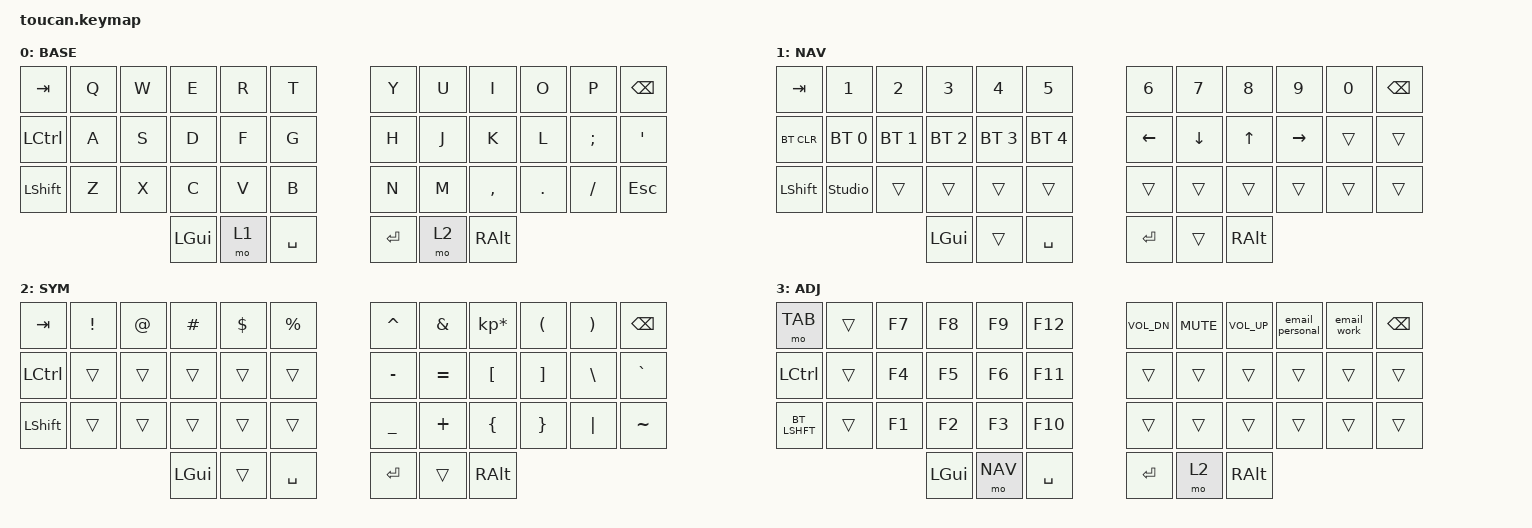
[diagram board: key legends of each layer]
#include <behaviors.dtsi>
#include <dt-bindings/zmk/keys.h>
#include <dt-bindings/zmk/bt.h>
#include <dt-bindings/zmk/outputs.h>

#define BASE 0
#define NAV  1
#define SYM  2
#define ADJ  3

/ {
    conditional_layers {
        compatible = "zmk,conditional-layers";
        tri_layer {
            if-layers = <1 2>;
            then-layer = <3>;
        };
    };

    macros {
        email_personal: email_personal {
            compatible = "zmk,behavior-macro";
            #binding-cells = <0>;
            wait-ms = <0>;
            tap-ms = <5>;
            bindings = <&kp B &kp E &kp N &kp R &kp B &kp A &kp U &kp E &kp R &kp AT &kp P &kp M &kp DOT &kp M &kp E>;
        };

        email_work: email_work {
            compatible = "zmk,behavior-macro";
            #binding-cells = <0>;
            wait-ms = <0>;
            tap-ms = <5>;
            bindings = <&kp B &kp E &kp N &kp J &kp A &kp M &kp I &kp N &kp DOT &kp B &kp A &kp U &kp E &kp R &kp AT &kp S &kp T &kp U &kp B &kp H &kp U &kp B &kp DOT &kp C &kp O &kp M>;
        };
    };

    keymap {
        compatible = "zmk,keymap";

        base {
            display-name = "BASE";
            bindings = <
                &kp TAB   &kp Q &kp W &kp E &kp R &kp T   &kp Y &kp U  &kp I     &kp O   &kp P    &kp BSPC
                &kp LCTRL &kp A &kp S &kp D &kp F &kp G   &kp H &kp J  &kp K     &kp L   &kp SEMI &kp SQT
                &kp LSHFT &kp Z &kp X &kp C &kp V &kp B   &kp N &kp M  &kp COMMA &kp DOT &kp FSLH &kp ESC
                                &kp LGUI &mo 1 &kp SPACE   &kp RET &mo 2 &kp RALT
            >;
        };

        nav {
            display-name = "NAV";
            bindings = <
                &kp TAB     &kp N1          &kp N2       &kp N3       &kp N4       &kp N5         &kp N6   &kp N7   &kp N8 &kp N9    &kp N0 &kp BSPC
                &bt BT_CLR  &bt BT_SEL 0    &bt BT_SEL 1 &bt BT_SEL 2 &bt BT_SEL 3 &bt BT_SEL 4   &kp LEFT &kp DOWN &kp UP &kp RIGHT &trans &trans
                &kp LSHFT   &studio_unlock  &trans       &trans       &trans       &trans         &trans   &trans   &trans &trans    &trans &trans
                                                &kp LGUI     &trans       &kp SPACE      &kp RET  &trans   &kp RALT
            >;
        };

        sym {
            display-name = "SYM";
            bindings = <
                &kp TAB   &kp EXCL &kp AT &kp HASH &kp DLLR &kp PRCNT   &kp CARET &kp AMPS  &kp KP_MULTIPLY &kp LPAR &kp RPAR &kp BSPC
                &kp LCTRL &trans   &trans &trans   &trans   &trans      &kp MINUS &kp EQUAL &kp LBKT        &kp RBKT &kp BSLH &kp GRAVE
                &kp LSHFT &trans   &trans &trans   &trans   &trans      &kp UNDER &kp PLUS  &kp LBRC        &kp RBRC &kp PIPE &kp TILDE
                                          &kp LGUI &trans   &kp SPACE   &kp RET   &trans    &kp RALT
            >;
        };

        adj {
            display-name = "ADJ";
            bindings = <
                &mo TAB   &trans &kp F7 &kp F8 &kp F9 &kp F12   &kp C_VOL_DN &kp C_MUTE  &kp C_VOL_UP &email_personal &email_work &kp BSPC
                &kp LCTRL &trans &kp F4 &kp F5 &kp F6 &kp F11   &trans       &trans      &trans       &trans &trans &trans
                &bt LSHFT &trans &kp F1 &kp F2 &kp F3 &kp F10   &trans       &trans      &trans       &trans &trans &trans
                                   &kp LGUI &mo NAV &kp SPACE   &kp RET &mo 2 &kp RALT
            >;
        };
        extra_1 {
                status = "reserved";
        };

        extra_2 {
                status = "reserved";
        };

        extra_3 {
                status = "reserved";
        };
    };
};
